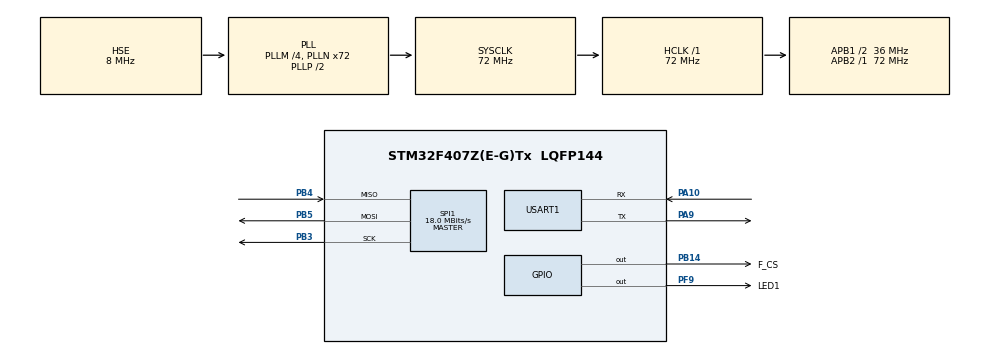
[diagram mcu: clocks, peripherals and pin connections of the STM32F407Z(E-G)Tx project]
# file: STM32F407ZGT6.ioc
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Mcu.Family=STM32F4
Mcu.Name=STM32F407Z(E-G)Tx
Mcu.Package=LQFP144
NVIC.PriorityGroup=NVIC_PRIORITYGROUP_4
NVIC.USART1_IRQn=true\:0\:0\:false\:false\:true\:true\:true
PA10.Mode=Asynchronous
PA10.Signal=USART1_RX
PA13.Mode=Serial_Wire
PA13.Signal=SYS_JTMS-SWDIO
PA14.Mode=Serial_Wire
PA14.Signal=SYS_JTCK-SWCLK
PA9.Mode=Asynchronous
PA9.Signal=USART1_TX
PB14.GPIO_Label=F_CS
PB14.Signal=GPIO_Output
PB3.Mode=Full_Duplex_Master
PB3.Signal=SPI1_SCK
PB4.Mode=Full_Duplex_Master
PB4.Signal=SPI1_MISO
PB5.Mode=Full_Duplex_Master
PB5.Signal=SPI1_MOSI
PC14-OSC32_IN.Mode=LSE-External-Oscillator
PC14-OSC32_IN.Signal=RCC_OSC32_IN
PC15-OSC32_OUT.Mode=LSE-External-Oscillator
PC15-OSC32_OUT.Signal=RCC_OSC32_OUT
PF9.GPIO_Label=LED1
PF9.Signal=GPIO_Output
PH0-OSC_IN.Mode=HSE-External-Oscillator
PH0-OSC_IN.Signal=RCC_OSC_IN
PH1-OSC_OUT.Mode=HSE-External-Oscillator
PH1-OSC_OUT.Signal=RCC_OSC_OUT
ProjectManager.HeapSize=0x200
ProjectManager.StackSize=0x1000
ProjectManager.TargetToolchain=MDK-ARM V5.32
RCC.48MHZClocksFreq_Value=48000000
RCC.AHBFreq_Value=72000000
RCC.APB1CLKDivider=RCC_HCLK_DIV2
RCC.APB1Freq_Value=36000000
RCC.APB1TimFreq_Value=72000000
RCC.APB2Freq_Value=72000000
RCC.APB2TimFreq_Value=72000000
RCC.CortexFreq_Value=72000000
RCC.HCLKFreq_Value=72000000
RCC.HSE_VALUE=8000000
RCC.HSI_VALUE=16000000
RCC.PLLM=4
RCC.PLLN=72
RCC.PLLQ=3
RCC.PLLSourceVirtual=RCC_PLLSOURCE_HSE
RCC.RCC_RTC_Clock_Source=RCC_RTCCLKSOURCE_LSE
RCC.RCC_RTC_Clock_SourceVirtual=RCC_RTCCLKSOURCE_LSE
RCC.SYSCLKFreq_VALUE=72000000
RCC.SYSCLKSource=RCC_SYSCLKSOURCE_PLLCLK
RCC.VCOOutputFreq_Value=144000000
SPI1.BaudRatePrescaler=SPI_BAUDRATEPRESCALER_4
SPI1.CalculateBaudRate=18.0 MBits/s
SPI1.Direction=SPI_DIRECTION_2LINES
SPI1.Mode=SPI_MODE_MASTER
SPI1.VirtualType=VM_MASTER
USART1.VirtualMode=VM_ASYNC
board=custom

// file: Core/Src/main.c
/* USER CODE BEGIN Header */
/**
 ******************************************************************************
 * @file           : main.c
 * @brief          : Main program body
 ******************************************************************************
 * @attention
 *
 * <h2><center>&copy; Copyright (c) 2021 STMicroelectronics.
 * All rights reserved.</center></h2>
 *
 * This software component is licensed by ST under BSD 3-Clause license,
 * the "License"; You may not use this file except in compliance with the
 * License. You may obtain a copy of the License at:
 *                        opensource.org/licenses/BSD-3-Clause
 *
 ******************************************************************************
 */
/* USER CODE END Header */
#include "main.h"
#include "spi.h"
#include "usart.h"
#include "gpio.h"

/* USER CODE BEGIN Includes */
#include "stdio.h"
#include "w25qxx.h"

/* USER CODE END Includes */

/* USER CODE BEGIN PD */
#define READ_ADDR 0x100000
#define WRITE_ADDR 0x100000
#define NUMBER_READ 30

/* USER CODE END PD */

/* USER CODE BEGIN PV */
uint8_t read_buf[300];
uint8_t write_buf[300];

/* USER CODE END PV */

void SystemClock_Config(void);

int main(void)
{

  /* MCU Configuration--------------------------------------------------------*/

  /* Reset of all peripherals, Initializes the Flash interface and the Systick. */
  HAL_Init();

  /* Configure the system clock */
  SystemClock_Config();

  /* Initialize all configured peripherals */
  MX_GPIO_Init();
  MX_USART1_UART_Init();
  MX_SPI1_Init();
  /* USER CODE BEGIN 2 */
  // printf("This is the test of W25Qxx by StudentWei\r\n");
  // printf("W25Qxxx ID is: 0x%02X\r\n", W25QXX_ReadID());

  printf("-------- Read data before write -----------\r\n");
  W25QXX_Read(read_buf, READ_ADDR, NUMBER_READ);
  for (int i = 0; i < NUMBER_READ; i++)
  {
    printf("[0x%06x]:0x%02x\r\n", READ_ADDR + i, *(read_buf + i));
  }

  printf("-------- erase sector 0 -----------\r\n");
  W25QXX_Erase_Sector(256);

  printf("-------- read data after erase -----------\r\n");
  W25QXX_Read(read_buf, READ_ADDR, NUMBER_READ);
  for (int i = 0; i < NUMBER_READ; i++)
  {
    printf("[0x%06x]:0x%02x\r\n", READ_ADDR + i, *(read_buf + i));
  }

  printf("-------- write data -----------\r\n");
  for (int i = 0; i < NUMBER_READ; i++)
  {
    write_buf[i] = 0x34;
  }
  W25QXX_Write(write_buf, WRITE_ADDR, NUMBER_READ);

  printf("-------- read data after write -----------\r\n");
  W25QXX_Read(read_buf, READ_ADDR, NUMBER_READ);
  for (int i = 0; i < NUMBER_READ; i++)
  {
    printf("[0x%06x]:0x%02x\r\n", READ_ADDR + i, *(read_buf + i));
  }

  /* USER CODE END 2 */

  /* Infinite loop */
  while (1)
  {

  }
}

void SystemClock_Config(void)
{
  RCC_OscInitTypeDef RCC_OscInitStruct = {0};
  RCC_ClkInitTypeDef RCC_ClkInitStruct = {0};

  /** Configure the main internal regulator output voltage
  */
  __HAL_RCC_PWR_CLK_ENABLE();
  __HAL_PWR_VOLTAGESCALING_CONFIG(PWR_REGULATOR_VOLTAGE_SCALE1);
  /** Initializes the RCC Oscillators according to the specified parameters
  * in the RCC_OscInitTypeDef structure.
  */
  RCC_OscInitStruct.OscillatorType = RCC_OSCILLATORTYPE_HSE;
  RCC_OscInitStruct.HSEState = RCC_HSE_ON;
  RCC_OscInitStruct.PLL.PLLState = RCC_PLL_ON;
  RCC_OscInitStruct.PLL.PLLSource = RCC_PLLSOURCE_HSE;
  RCC_OscInitStruct.PLL.PLLM = 4;
  RCC_OscInitStruct.PLL.PLLN = 72;
  RCC_OscInitStruct.PLL.PLLP = RCC_PLLP_DIV2;
  RCC_OscInitStruct.PLL.PLLQ = 3;
  if (HAL_RCC_OscConfig(&RCC_OscInitStruct) != HAL_OK)
  {
    Error_Handler();
  }
  /** Initializes the CPU, AHB and APB buses clocks
  */
  RCC_ClkInitStruct.ClockType = RCC_CLOCKTYPE_HCLK|RCC_CLOCKTYPE_SYSCLK
                              |RCC_CLOCKTYPE_PCLK1|RCC_CLOCKTYPE_PCLK2;
  RCC_ClkInitStruct.SYSCLKSource = RCC_SYSCLKSOURCE_PLLCLK;
  RCC_ClkInitStruct.AHBCLKDivider = RCC_SYSCLK_DIV1;
  RCC_ClkInitStruct.APB1CLKDivider = RCC_HCLK_DIV2;
  RCC_ClkInitStruct.APB2CLKDivider = RCC_HCLK_DIV1;

  if (HAL_RCC_ClockConfig(&RCC_ClkInitStruct, FLASH_LATENCY_2) != HAL_OK)
  {
    Error_Handler();
  }
}

/* USER CODE BEGIN 4 */
int fputc(int ch, FILE *f)
{
  uint8_t temp[1] = {ch};
  HAL_UART_Transmit(&huart1, temp, 1, 2);
  return ch;
}

/* USER CODE END 4 */

void Error_Handler(void)
{
  /* USER CODE BEGIN Error_Handler_Debug */
  printf("Error");
  /* User can add his own implementation to report the HAL error return state */
  __disable_irq();
  while (1)
  {
  }
  /* USER CODE END Error_Handler_Debug */
}

/************************ (C) COPYRIGHT STMicroelectronics *****END OF FILE****/
